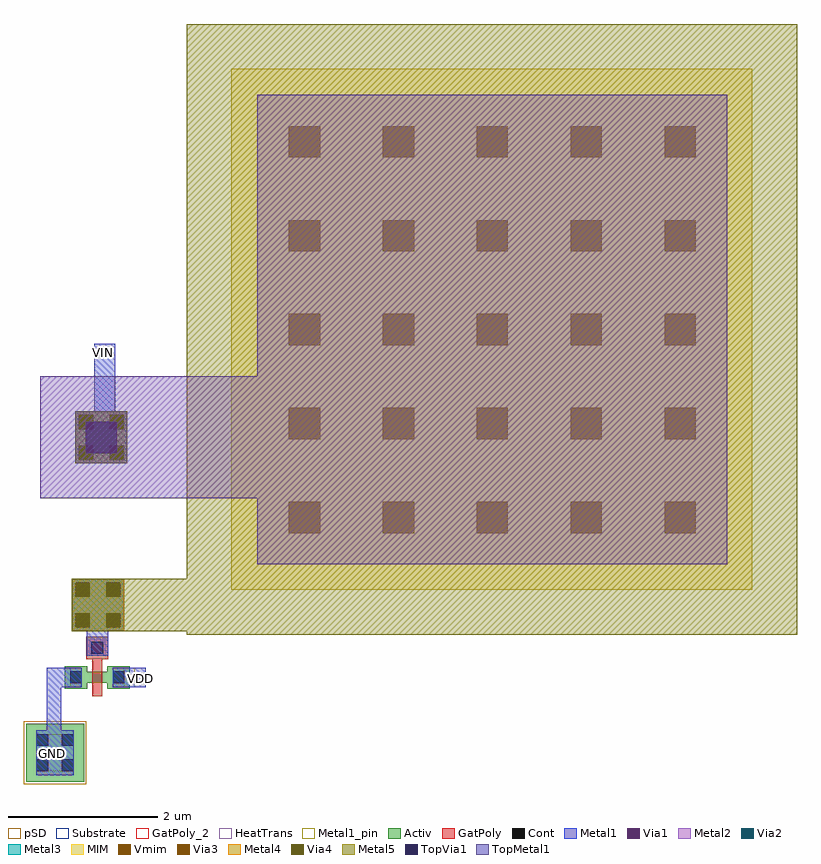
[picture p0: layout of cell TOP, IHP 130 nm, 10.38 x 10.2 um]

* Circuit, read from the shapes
.subckt TOP GND VDD VIN
XM1 VDD n1 GND GND sg13_lv_nmos w=0.15u l=0.13u
XC2 VIN n1 cap_cmim w=6.99u l=6.99u
.ends

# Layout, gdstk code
from math import pi, radians
import gdstk
lib = gdstk.Library(unit=1e-6, precision=1e-09)
def R(c, l, rs):  # rectangles x0, y0, x1, y1
    for r in rs: c.add(gdstk.rectangle(r[:2], r[2:], *l))
def A(c, l, x, y, w, h, nx, ny, dx, dy):  # array of equal rectangles
    R(c, l, [(x+i*dx, y+j*dy, x+i*dx+w, y+j*dy+h) for i in range(nx) for j in range(ny)])
def P(c, l, *ps):  # polygons
    for p in ps: c.add(gdstk.Polygon(p, *l))
Activ = (1, 0)
GatPoly = (5, 0)
GatPoly_2 = (5, 2)
Cont = (6, 0)
Metal1 = (8, 0)
Metal1_pin = (8, 2)
Metal2 = (10, 0)
pSD = (14, 0)
Via1 = (19, 0)
Via2 = (29, 0)
Metal3 = (30, 0)
MIM = (36, 0)
Substrate = (40, 0)
Via3 = (49, 0)
Metal4 = (50, 0)
HeatTrans = (51, 0)
Via4 = (66, 0)
Metal5 = (67, 0)
TopVia1 = (125, 0)
TopMetal1 = (126, 0)
Vmim = (129, 0)

ptap1 = lib.new_cell('ptap1')
R(ptap1, Activ, [(0,0,0.78,0.78)])
R(ptap1, Cont, [(0.14,0.14,0.3,0.3), (0.48,0.14,0.64,0.3), (0.14,0.48,0.3,0.64), (0.48,0.48,0.64,0.64)])
R(ptap1, Metal1, [(0.14,0.09,0.64,0.69), (0.14,0.14,0.64,0.64)])
R(ptap1, Metal1_pin, [(0.14,0.14,0.64,0.64)])
R(ptap1, pSD, [(-0.03,-0.03,0.81,0.81)])
R(ptap1, Substrate, [(0,0,0.78,0.78)])
ptap1.add(gdstk.Label('sub!', (0.39,0.01), layer=63, texttype=0))
ptap1.add(gdstk.Label('sub!', (0.39,0.01), layer=40, texttype=0))

nmos = lib.new_cell('nmos')
R(nmos, Activ, [(0,0,0.3,0.3), (0.57,0,0.87,0.3), (0,0.075,0.87,0.225)])
R(nmos, GatPoly, [(0.37,-0.105,0.5,0.405)])
R(nmos, GatPoly_2, [(0.37,-0.105,0.5,0.405)])
R(nmos, Cont, [(0.07,0.07,0.23,0.23), (0.64,0.07,0.8,0.23)])
R(nmos, Metal1, [(0.07,0.02,0.23,0.28), (0.64,0.02,0.8,0.28)])
R(nmos, Metal1_pin, [(0.07,0.02,0.23,0.28), (0.64,0.02,0.8,0.28)])
R(nmos, HeatTrans, [(0.37,-0.105,0.5,0.405)])
nmos.add(gdstk.Label('nmos', (0.435,0.15), layer=63, texttype=0))
nmos.add(gdstk.Label('nmos', (0.435,0.15), layer=51, texttype=0))

cmim = lib.new_cell('cmim')
R(cmim, MIM, [(0,0,6.99,6.99)])
R(cmim, Metal5, [(-0.6,-0.6,7.59,7.59)])
R(cmim, TopMetal1, [(0.34,0.34,6.64,6.64)])
A(cmim, Vmim, 0.76, 0.76, 0.42, 0.42, 5, 5, 1.26, 1.26)

via_stack_1 = lib.new_cell('via_stack$1')
R(via_stack_1, Metal1, [(-0.35,-0.35,0.35,0.35)])
R(via_stack_1, Metal2, [(-0.35,-0.35,0.35,0.35)])
R(via_stack_1, Via1, [(-0.3,-0.3,-0.11,-0.11), (0.11,-0.3,0.3,-0.11), (-0.3,0.11,-0.11,0.3), (0.11,0.11,0.3,0.3)])
R(via_stack_1, Via2, [(-0.3,-0.3,-0.11,-0.11), (0.11,-0.3,0.3,-0.11), (-0.3,0.11,-0.11,0.3), (0.11,0.11,0.3,0.3)])
R(via_stack_1, Metal3, [(-0.35,-0.35,0.35,0.35)])
R(via_stack_1, Via3, [(-0.3,-0.3,-0.11,-0.11), (0.11,-0.3,0.3,-0.11), (-0.3,0.11,-0.11,0.3), (0.11,0.11,0.3,0.3)])
R(via_stack_1, Metal4, [(-0.35,-0.35,0.35,0.35)])
R(via_stack_1, Via4, [(-0.3,-0.3,-0.11,-0.11), (0.11,-0.3,0.3,-0.11), (-0.3,0.11,-0.11,0.3), (0.11,0.11,0.3,0.3)])
R(via_stack_1, Metal5, [(-0.35,-0.35,0.35,0.35), (-0.31,-0.31,0.31,0.31)])
R(via_stack_1, TopVia1, [(-0.21,-0.21,0.21,0.21)])
R(via_stack_1, TopMetal1, [(-0.82,-0.82,0.82,0.82)])

via_stack_2 = lib.new_cell('via_stack$2')
R(via_stack_2, Metal1, [(-0.35,-0.35,0.35,0.35)])
R(via_stack_2, Metal2, [(-0.35,-0.35,0.35,0.35)])
R(via_stack_2, Via1, [(-0.3,-0.3,-0.11,-0.11), (0.11,-0.3,0.3,-0.11), (-0.3,0.11,-0.11,0.3), (0.11,0.11,0.3,0.3)])
R(via_stack_2, Via2, [(-0.3,-0.3,-0.11,-0.11), (0.11,-0.3,0.3,-0.11), (-0.3,0.11,-0.11,0.3), (0.11,0.11,0.3,0.3)])
R(via_stack_2, Metal3, [(-0.35,-0.35,0.35,0.35)])
R(via_stack_2, Via3, [(-0.3,-0.3,-0.11,-0.11), (0.11,-0.3,0.3,-0.11), (-0.3,0.11,-0.11,0.3), (0.11,0.11,0.3,0.3)])
R(via_stack_2, Metal4, [(-0.35,-0.35,0.35,0.35)])
R(via_stack_2, Via4, [(-0.3,-0.3,-0.11,-0.11), (0.11,-0.3,0.3,-0.11), (-0.3,0.11,-0.11,0.3), (0.11,0.11,0.3,0.3)])
R(via_stack_2, Metal5, [(-0.35,-0.35,0.35,0.35)])

top = lib.new_cell('TOP')
R(top, GatPoly, [(1.35,0.715,1.65,1.015)])
R(top, Cont, [(1.42,0.785,1.58,0.945)])
R(top, Metal1, [(1.705,0.34,2.15,0.6), (1.36,0.76,1.645,1.185), (1.46,3.77,1.745,4.945)])
P(top, Metal1, [(0.82,-0.29),(0.82,0.6),(1.295,0.6),(1.295,0.34),(1.015,0.34),(1.015,-0.29)])
R(top, Metal1_pin, [(1.995,0.34,2.15,0.6), (1.46,4.79,1.745,4.945)])
R(top, Metal5, [(1.86,1.09,2.745,1.79)])
R(top, TopMetal1, [(2.375,2.87,3.765,4.51)])
top.add(gdstk.Reference(ptap1, (0.545,-0.93)))
top.add(gdstk.Reference(nmos, (1.065,0.32)))
top.add(gdstk.Reference(cmim, (10.29,1.645), rotation=pi/2))
top.add(gdstk.Reference(via_stack_1, (1.555,3.69), rotation=pi/2))
top.add(gdstk.Reference(via_stack_2, (1.51,1.44), rotation=pi/2))
top.add(gdstk.Label('VDD', (2.08,0.45), layer=8, texttype=2))
top.add(gdstk.Label('VIN', (1.58,4.835), layer=8, texttype=2))
top.add(gdstk.Label('GND', (0.905,-0.555), layer=8, texttype=2))

lib.write_gds('TOP.gds')
